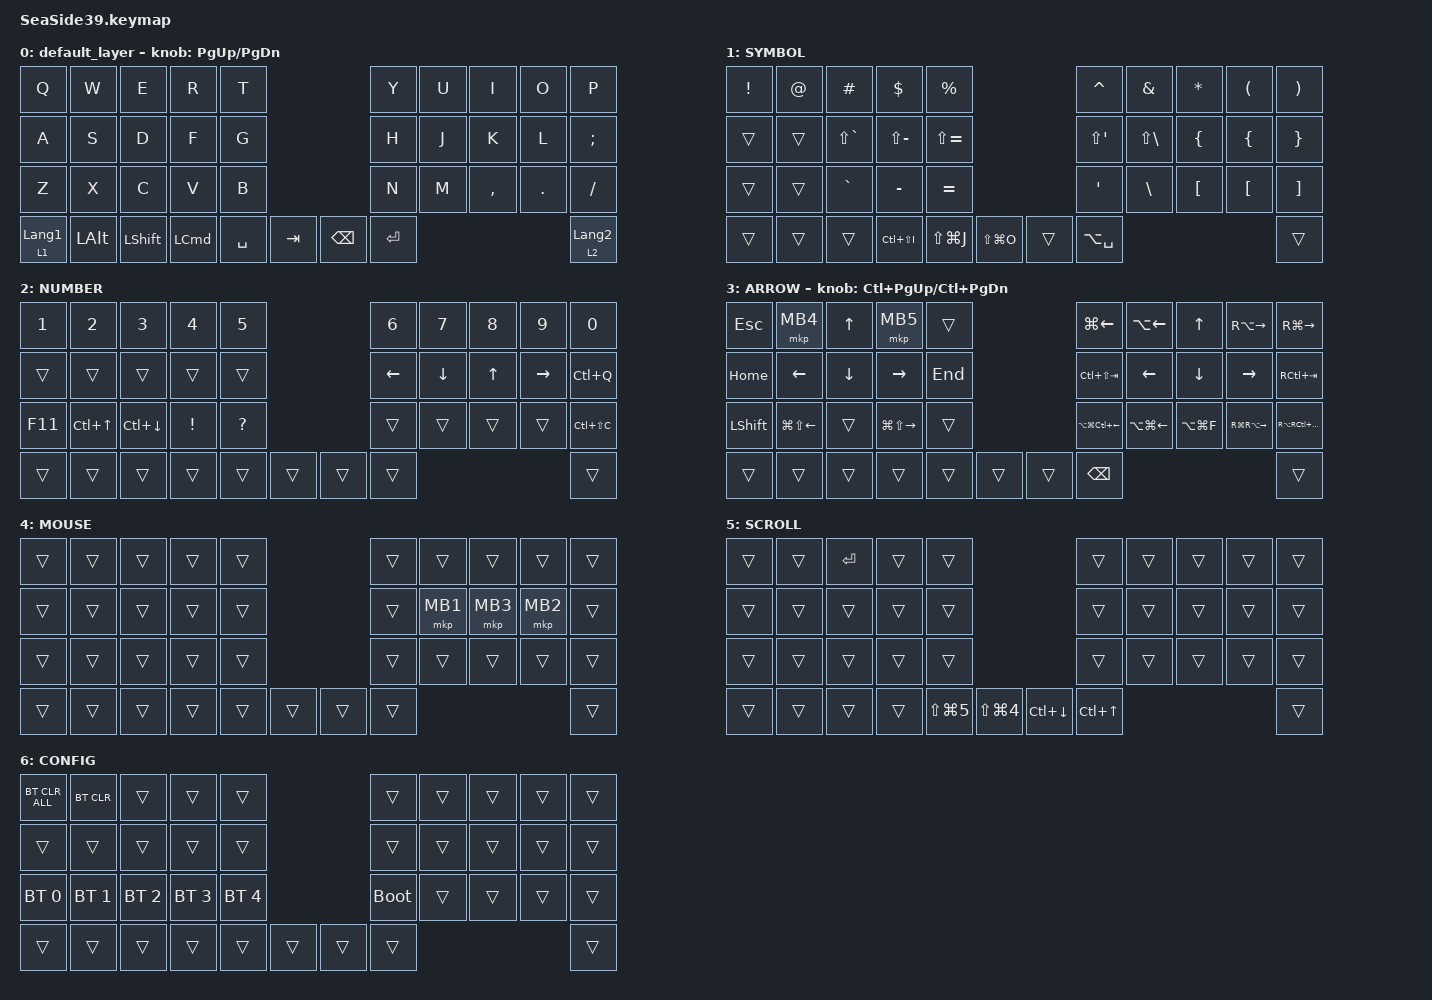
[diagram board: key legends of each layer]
#include <behaviors.dtsi>
#include <dt-bindings/zmk/bt.h>
#include <dt-bindings/zmk/keys.h>
#include <dt-bindings/zmk/pointing.h>

#define MOUSE 4
#define SCROLL 5
#define NUM 6

&mt {
    flavor = "balanced";
    quick-tap-ms = <300>;
};

&lt {
    flavor = "balanced";
    quick-tap-ms = <300>;
};

/ {
    combos {
        compatible = "zmk,combos";

        mouse-left-click {
            bindings = <&mkp LCLK>;
            key-positions = <16 17>;
        };

        mouse-right-click {
            bindings = <&mkp RCLK>;
            key-positions = <17 18>;
        };

        mouse-scroll {
            bindings = <&mo 5>;
            key-positions = <16 17 18>;
        };

        esc {
            bindings = <&kp ESC>;
            key-positions = <12 13>;
        };

        left-control {
            bindings = <&kp LEFT_CONTROL>;
            key-positions = <10 11>;
        };
    };

    macros {
        to_layer_0: to_layer_0 {
            compatible = "zmk,behavior-macro-one-param";
            #binding-cells = <1>;
            bindings = <&to 0 &macro_param_1to1 &kp MACRO_PLACEHOLDER>;
            label = "TO_LAYER_0";
        };
    };

    behaviors {
        lt_to_layer_0: lt_to_layer_0 {
            compatible = "zmk,behavior-hold-tap";
            label = "LAYER_TAP_TO_0";
            bindings = <&mo>, <&to_layer_0>;

            #binding-cells = <2>;
            tapping-term-ms = <200>;
        };
    };

    keymap {
        compatible = "zmk,keymap";

        default_layer {
            bindings = <
&kp Q             &kp W     &kp E       &kp R             &kp T                                  &kp Y      &kp U  &kp I      &kp O       &kp P
&kp A             &kp S     &kp D       &kp F             &kp G                                  &kp H      &kp J  &kp K      &kp L       &kp SEMICOLON
&kp Z             &kp X     &kp C       &kp V             &kp B                                  &kp N      &kp M  &kp COMMA  &kp PERIOD  &kp SLASH
&lt 1 LANGUAGE_1  &kp LALT  &kp LSHIFT  &kp LEFT_COMMAND  &kp SPACE  &kp TAB      &kp BACKSPACE  &kp ENTER                                &lt 2 LANGUAGE_2
            >;

            sensor-bindings = <&inc_dec_kp PG_UP PAGE_DOWN>;
        };

        SYMBOL {
            bindings = <
&kp EXCLAMATION  &kp AT_SIGN  &kp HASH       &kp DOLLAR     &kp PERCENT                               &kp CARET         &kp AMPERSAND      &kp ASTERISK      &kp LEFT_PARENTHESIS  &kp RIGHT_PARENTHESIS
&trans           &trans       &kp LS(GRAVE)  &kp LS(MINUS)  &kp LS(EQUAL)                             &kp LS(SQT)       &kp LS(BACKSLASH)  &kp LEFT_BRACE    &kp LEFT_BRACE        &kp RIGHT_BRACE
&trans           &trans       &kp GRAVE      &kp MINUS      &kp EQUAL                                 &kp SINGLE_QUOTE  &kp BACKSLASH      &kp LEFT_BRACKET  &kp LEFT_BRACKET      &kp RIGHT_BRACKET
&trans           &trans       &trans         &kp LC(LS(I))  &kp LS(LG(J))  &kp LS(LG(O))      &trans  &kp LA(SPACE)                                                                &trans
            >;
        };

        NUMBER {
            bindings = <
&kp N1   &kp N2            &kp N3              &kp NUMBER_4     &kp N5                            &kp N6          &kp N7          &kp N8        &kp N9           &kp N0
&trans   &trans            &trans              &trans           &trans                            &kp LEFT_ARROW  &kp DOWN_ARROW  &kp UP_ARROW  &kp RIGHT_ARROW  &kp LC(Q)
&kp F11  &kp LC(UP_ARROW)  &kp LC(DOWN_ARROW)  &kp EXCLAMATION  &kp QUESTION                      &trans          &trans          &trans        &trans           &kp LC(LS(C))
&trans   &trans            &trans              &trans           &trans        &trans      &trans  &trans                                                         &trans
            >;
        };

        ARROW {
            bindings = <
&kp ESCAPE      &mkp MB4                &kp UP_ARROW    &mkp MB5                 &trans                       &kp LG(LEFT_ARROW)          &kp LA(LEFT_ARROW)      &kp UP_ARROW    &kp RA(RIGHT_ARROW)      &kp RG(RIGHT_ARROW)
&kp HOME        &kp LEFT_ARROW          &kp DOWN_ARROW  &kp RIGHT_ARROW          &kp END                      &kp LC(LS(TAB))             &kp LEFT_ARROW          &kp DOWN_ARROW  &kp RIGHT_ARROW          &kp RC(TAB)
&kp LEFT_SHIFT  &kp LG(LS(LEFT_ARROW))  &trans          &kp LG(LS(RIGHT_ARROW))  &trans                       &kp LA(LG(LC(LEFT_ARROW)))  &kp LA(LG(LEFT_ARROW))  &kp LA(LG(F))   &kp RG(RA(RIGHT_ARROW))  &kp RA(RC(RG(RIGHT_ARROW)))
&trans          &trans                  &trans          &trans                   &trans   &trans      &trans  &kp BACKSPACE                                                                                &trans
            >;

            sensor-bindings = <&inc_dec_kp LC(PAGE_UP) LC(PAGE_DOWN)>;
        };

        MOUSE {
            bindings = <
&trans  &trans  &trans  &trans  &trans                      &trans  &trans    &trans    &trans    &trans
&trans  &trans  &trans  &trans  &trans                      &trans  &mkp MB1  &mkp MB3  &mkp MB2  &trans
&trans  &trans  &trans  &trans  &trans                      &trans  &trans    &trans    &trans    &trans
&trans  &trans  &trans  &trans  &trans  &trans      &trans  &trans                                &trans
            >;
        };

        SCROLL {
            bindings = <
&trans  &trans  &kp ENTER  &trans  &trans                                            &trans            &trans  &trans  &trans  &trans
&trans  &trans  &trans     &trans  &trans                                            &trans            &trans  &trans  &trans  &trans
&trans  &trans  &trans     &trans  &trans                                            &trans            &trans  &trans  &trans  &trans
&trans  &trans  &trans     &trans  &kp LS(LG(N5))  &kp LS(LG(N4))      &kp LC(DOWN)  &kp LC(UP_ARROW)                          &trans
            >;
        };

        CONFIG {
            bindings = <
&bt BT_CLR_ALL  &bt BT_CLR    &trans        &trans        &trans                            &trans       &trans  &trans  &trans  &trans
&trans          &trans        &trans        &trans        &trans                            &trans       &trans  &trans  &trans  &trans
&bt BT_SEL 0    &bt BT_SEL 1  &bt BT_SEL 2  &bt BT_SEL 3  &bt BT_SEL 4                      &bootloader  &trans  &trans  &trans  &trans
&trans          &trans        &trans        &trans        &trans        &trans      &trans  &trans                               &trans
            >;
        };
    };
};
